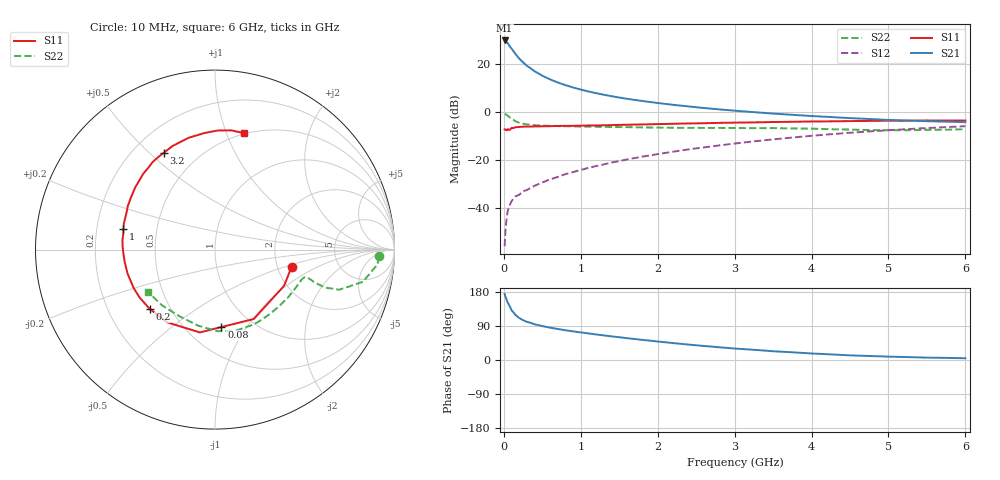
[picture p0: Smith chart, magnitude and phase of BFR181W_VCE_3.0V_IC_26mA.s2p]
! Infineon Technologies  Discrete & RF Semiconductors
! BFR181W
! VCE =  3.0 V,  IC =  26 mA
! Common Emitter S-Parameters:  Jan 2017
# GHz  S  MA  R  50
!  f  S11  S21  S12  S22
! GHz  MAG  ANG  MAG  ANG  MAG  ANG  MAG  ANG
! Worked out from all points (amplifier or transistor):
!   77 points, 10 MHz to 6 GHz, reference 50 ohm
!   highest |S21| = 29.9 dB at 10 MHz (marker M1)
!   |S21| within 3 dB of that: start of sweep to 90.54 MHz
!   unconditionally stable (mu >= 1): start of sweep to 14.38 MHz; 287.3 MHz to 2.739 GHz
!   at 130 MHz: K = 0.63, MSG = 30.6 dB, |S12| = -35.9 dB
!   at 2.2 GHz: K = 1.10, MAG = 7.9 dB, |S12| = -16.5 dB
!   at 6 GHz: K = 0.98, MSG = 0.8 dB, |S12| = -5.9 dB
!   S11 on the Smith chart (normalised r, x): 10 MHz: 2.39, -0.57; 80 MHz: 0.73, -0.77; 200 MHz: 0.38, -0.33; 1 GHz: 0.32, +0.10; 3.2 GHz: 0.32, +0.56; 6 GHz: 0.49, +1.15
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0.01  0.4376 -12.8  31.36 174.4  0.0016 72.5  0.9119 -2.4
0.02  0.4344 -27.7  30.61 167.6  0.0031 83.7  0.9097 -5.2
0.05  0.4429 -60.8  27.58 151.2  0.0086 68.3  0.8433 -12.3
0.08  0.433 -85.3  23.42 140.4  0.0118 63.9  0.773 -15.5
0.1  0.4691 -100.4  21.25 131.1  0.0139 62.1  0.7277 -17.9
0.15  0.4856 -123.6  16.47 119.1  0.0175 57.2  0.649 -19.0
0.2  0.4914 -137.9  13.16 110.7  0.0189 57.0  0.602 -18.5
0.25  0.498 -147.8  10.92 105.0  0.0223 58.2  0.5753 -18.0
0.3  0.5013 -154.8  9.278 100.7  0.0238 60.6  0.556 -17.3
0.4  0.5052 -164.8  7.134 94.2  0.0291 64.3  0.5356 -16.9
0.5  0.5077 -171.9  5.758 89.5  0.0342 67.0  0.525 -17.1
0.6  0.5108 -177.3  4.84 85.4  0.0394 69.9  0.5182 -17.6
0.7  0.5149 178.3  4.168 81.9  0.0446 72.0  0.5131 -18.5
1  0.5228 167.4  2.967 72.8  0.0623 76.1  0.5017 -22.4
1.1  0.528 164.2  2.708 70.2  0.0689 77.1  0.5001 -23.8
1.5  0.5428 153.6  2.021 60.1  0.0954 78.7  0.4887 -30.6
2.1  0.5677 139.4  1.488 46.8  0.1413 77.8  0.4746 -43.3
3.1  0.6073 119.7  1.045 28.9  0.2311 71.5  0.4661 -66.9
3.2  0.6105 117.8  1.016 27.6  0.2409 70.6  0.4651 -69.1
4.1  0.6412 101.8  0.815 16.3  0.3312 61.5  0.4483 -90.9
5.1  0.6643 87.5  0.681 8.4  0.4299 49.4  0.4198 -121.4
6  0.6683 76.2  0.619 4.7  0.5099 37.9  0.441 -147.7
